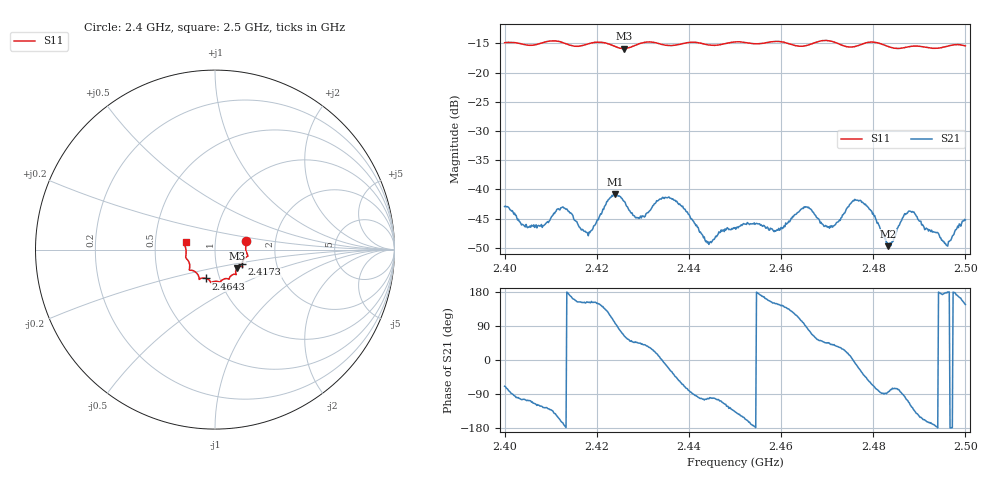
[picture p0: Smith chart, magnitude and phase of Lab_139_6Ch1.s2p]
# Hz S RI R 50
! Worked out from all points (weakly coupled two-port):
!   601 points, 2.4 GHz to 2.5 GHz, reference 50 ohm
!   highest |S21| = -40.83 dB at 2.424 GHz (marker M1); lowest = -49.7 dB at 2.4832 GHz (marker M2)
!   lowest |S11| = -15.9 dB at 2.4258 GHz (marker M3), VSWR 1.38, Z = 62.4 - j13.3 ohm
!   |S11| at or under -10 dB: start of sweep to end of sweep
!   S12 and S22 are empty: the file has one direction only
!   S11 on the Smith chart (normalised r, x): 2.4 GHz: 1.41, +0.14; 2.4173 GHz: 1.34, -0.22; 2.4643 GHz: 0.86, -0.28; 2.5 GHz: 0.72, +0.06
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2.4e9  0.1734 0.0492  0.00253 -0.00667  0 0  0 0
2.405333e9  0.171 0.00975  -0.00139 -0.00455  0 0  0 0
2.413e9  0.1738 -0.0415  -0.00686 -0.000858  0 0  0 0
2.416667e9  0.1526 -0.0742  -0.00396 0.00212  0 0  0 0
2.417333e9  0.1518 -0.0816  -0.00388 0.00201  0 0  0 0
2.424e9  0.1374 -0.0946  -0.000977 0.00904  0 0  0 0
2.425833e9  0.1223 -0.1038  0.00327 0.00724  0 0  0 0
2.428833e9  0.1152 -0.1308  0.00399 0.00409  0 0  0 0
2.433333e9  0.1123 -0.1374  0.00786 0.00163  0 0  0 0
2.4375e9  0.0843 -0.1509  0.00502 -0.0059  0 0  0 0
2.444e9  0.0634 -0.1611  -0.000689 -0.00341  0 0  0 0
2.45e9  0.0287 -0.1811  -0.00342 -0.00325  0 0  0 0
2.458833e9  -0.0219 -0.1836  -0.00374 0.00229  0 0  0 0
2.464333e9  -0.0497 -0.1606  -0.00162 0.00657  0 0  0 0
2.466667e9  -0.0758 -0.1593  0.0025 0.00613  0 0  0 0
2.470667e9  -0.0877 -0.1647  0.00363 0.00324  0 0  0 0
2.477167e9  -0.1284 -0.1158  0.00722 -0.00359  0 0  0 0
2.483167e9  -0.1405 -0.0914  0.00027 -0.00325  0 0  0 0
2.483333e9  -0.1405 -0.0896  0.000402 -0.00334  0 0  0 0
2.487667e9  -0.1583 -0.0518  -0.00236 -0.00606  0 0  0 0
2.495667e9  -0.1659 0.0166  -0.00345 0.000193  0 0  0 0
2.5e9  -0.1639 0.043  -0.00456 0.00304  0 0  0 0
